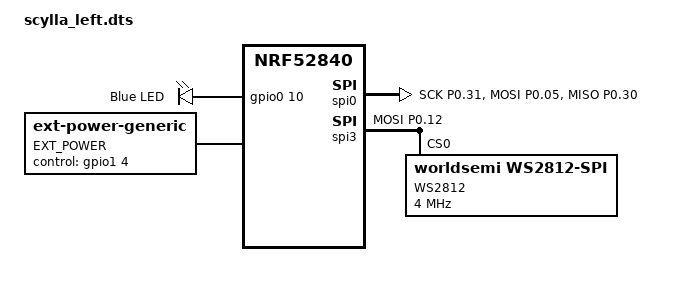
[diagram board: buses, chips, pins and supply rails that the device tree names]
/*
 * Copyright (c) 2021 Thys de Wet (vattern)
 *
 * SPDX-License-Identifier: MIT
 */

/dts-v1/;
#include <nordic/nrf52840_qiaa.dtsi>
#include <dt-bindings/zmk/matrix_transform.h>
#include <dt-bindings/led/led.h>
#include "scylla.dtsi"
/ {

leds {
  compatible = "gpio-leds";
  blue_led: led_0 {
    gpios = <&gpio0 10 GPIO_ACTIVE_HIGH>;
    label = "Blue LED";
  };
};

ext-power {
    compatible = "zmk,ext-power-generic";
    label = "EXT_POWER";
    control-gpios = <&gpio1 4 GPIO_ACTIVE_HIGH>;
    init-delay-ms = <50>;
  };
  
kscan0: kscan {
    col-gpios
        = <&gpio0 3  (GPIO_ACTIVE_HIGH | GPIO_PULL_DOWN)>
        , <&gpio0 2  (GPIO_ACTIVE_HIGH | GPIO_PULL_DOWN)>
        , <&gpio0 29 (GPIO_ACTIVE_HIGH | GPIO_PULL_DOWN)>
        , <&gpio1 4  (GPIO_ACTIVE_HIGH | GPIO_PULL_DOWN)>
        , <&gpio1 6  (GPIO_ACTIVE_HIGH | GPIO_PULL_DOWN)>
        , <&gpio0 9  (GPIO_ACTIVE_HIGH | GPIO_PULL_DOWN)>
        ;
    row-gpios
        = <&gpio0 28 (GPIO_ACTIVE_HIGH )>
        , <&gpio1 15  (GPIO_ACTIVE_HIGH )>
        , <&gpio1 10 (GPIO_ACTIVE_HIGH )>
        , <&gpio1 13  (GPIO_ACTIVE_HIGH )>
        , <&gpio0 10  (GPIO_ACTIVE_HIGH )>
        ;
        };
    };

&pinctrl {
	spi0_default: spi0_default {
		group1 {
			psels = <NRF_PSEL(SPIM_SCK, 0, 31)>,
				      <NRF_PSEL(SPIM_MOSI, 0, 05)>,
				      <NRF_PSEL(SPIM_MISO, 0, 30)>;
		};
	};
	spi0_sleep: spi0_sleep {
		group1 {
			psels = <NRF_PSEL(SPIM_SCK, 0, 31)>,
				      <NRF_PSEL(SPIM_MOSI, 0, 05)>,
				      <NRF_PSEL(SPIM_MISO, 0, 30)>;
			low-power-enable;
		};
	};

    spi3_default: spi3_default {
        group1 {
            psels = <NRF_PSEL(SPIM_MOSI, 0, 12)>;
        };
    };

    spi3_sleep: spi3_sleep {
        group1 {
            psels = <NRF_PSEL(SPIM_MOSI, 0, 12)>;
            low-power-enable;
        };
    };
};

&spi0 {
	compatible = "nordic,nrf-spim";
	pinctrl-0 = <&spi0_default>;
	pinctrl-1 = <&spi0_sleep>;
	pinctrl-names = "default", "sleep";
};

&spi3 {
  compatible = "nordic,nrf-spim";
  status = "okay";

  pinctrl-0 = <&spi3_default>;
  pinctrl-1 = <&spi3_sleep>;
  pinctrl-names = "default", "sleep";

  led_strip: ws2812@0 {
    compatible = "worldsemi,ws2812-spi";
    label = "WS2812";

    /* SPI */
    reg = <0>; /* ignored, but necessary for SPI bindings */
    spi-max-frequency = <4000000>;

    /* WS2812 */
    chain-length = <29>; /* number of LEDs */
    spi-one-frame = <0x70>;
    spi-zero-frame = <0x40>;
    color-mapping = <LED_COLOR_ID_GREEN
                          LED_COLOR_ID_RED
                          LED_COLOR_ID_BLUE>;
  };
};    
